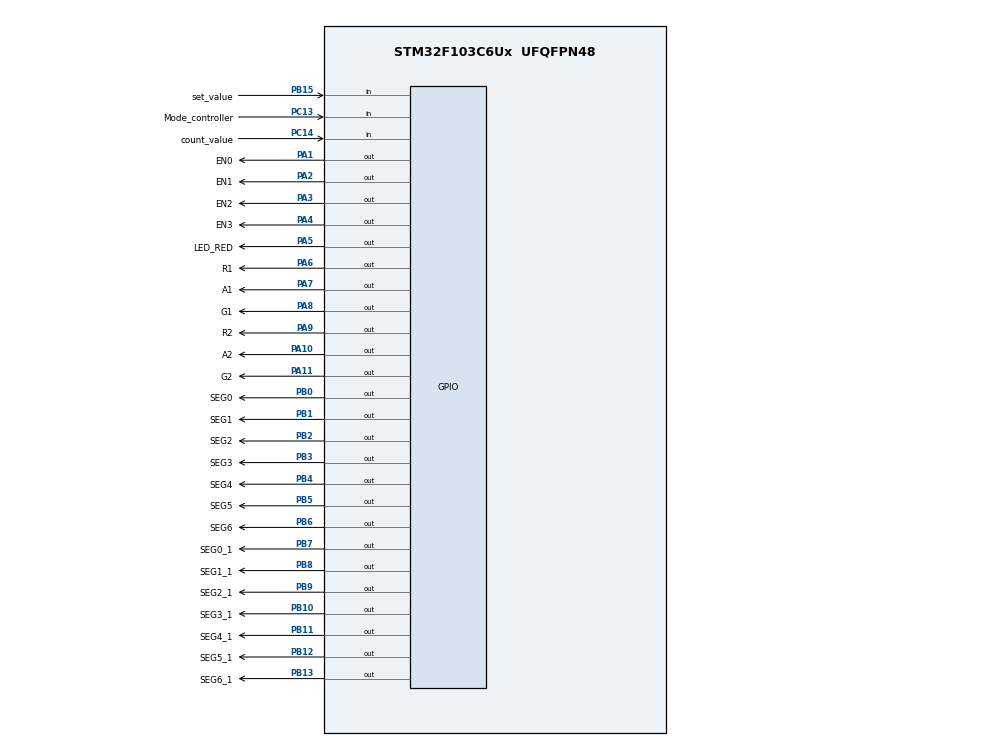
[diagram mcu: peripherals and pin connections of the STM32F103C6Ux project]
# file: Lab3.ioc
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Mcu.Family=STM32F1
Mcu.Name=STM32F103C6Ux
Mcu.Package=UFQFPN48
NVIC.PriorityGroup=NVIC_PRIORITYGROUP_4
NVIC.TIM2_IRQn=true\:0\:0\:false\:false\:true\:true\:true\:true
PA1.GPIO_Label=EN0
PA1.Signal=GPIO_Output
PA10.GPIO_Label=A2
PA10.Signal=GPIO_Output
PA11.GPIO_Label=G2
PA11.Signal=GPIO_Output
PA2.GPIO_Label=EN1
PA2.Signal=GPIO_Output
PA3.GPIO_Label=EN2
PA3.Signal=GPIO_Output
PA4.GPIO_Label=EN3
PA4.Signal=GPIO_Output
PA5.GPIO_Label=LED_RED
PA5.Signal=GPIO_Output
PA6.GPIO_Label=R1
PA6.Signal=GPIO_Output
PA7.GPIO_Label=A1
PA7.Signal=GPIO_Output
PA8.GPIO_Label=G1
PA8.Signal=GPIO_Output
PA9.GPIO_Label=R2
PA9.Signal=GPIO_Output
PB0.GPIO_Label=SEG0
PB0.Signal=GPIO_Output
PB1.GPIO_Label=SEG1
PB1.Signal=GPIO_Output
PB10.GPIO_Label=SEG3_1
PB10.Signal=GPIO_Output
PB11.GPIO_Label=SEG4_1
PB11.Signal=GPIO_Output
PB12.GPIO_Label=SEG5_1
PB12.Signal=GPIO_Output
PB13.GPIO_Label=SEG6_1
PB13.Signal=GPIO_Output
PB15.GPIO_Label=set_value
PB15.GPIO_PuPd=GPIO_PULLUP
PB15.Signal=GPIO_Input
PB2.GPIO_Label=SEG2
PB2.Signal=GPIO_Output
PB3.GPIO_Label=SEG3
PB3.Signal=GPIO_Output
PB4.GPIO_Label=SEG4
PB4.Signal=GPIO_Output
PB5.GPIO_Label=SEG5
PB5.Signal=GPIO_Output
PB6.GPIO_Label=SEG6
PB6.Signal=GPIO_Output
PB7.GPIO_Label=SEG0_1
PB7.Signal=GPIO_Output
PB8.GPIO_Label=SEG1_1
PB8.Signal=GPIO_Output
PB9.GPIO_Label=SEG2_1
PB9.Signal=GPIO_Output
PC13-TAMPER-RTC.GPIO_Label=Mode_controller
PC13-TAMPER-RTC.GPIO_PuPd=GPIO_PULLUP
PC13-TAMPER-RTC.Signal=GPIO_Input
PC14-OSC32_IN.GPIO_Label=count_value
PC14-OSC32_IN.GPIO_PuPd=GPIO_PULLUP
PC14-OSC32_IN.Signal=GPIO_Input
ProjectManager.HeapSize=0x200
ProjectManager.StackSize=0x400
ProjectManager.TargetToolchain=STM32CubeIDE
RCC.APB1Freq_Value=8000000
RCC.APB2Freq_Value=8000000
TIM2.Period=9
TIM2.Prescaler=7999
VP_TIM2_VS_ClockSourceINT.Mode=Internal
board=custom

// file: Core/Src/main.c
/* USER CODE BEGIN Header */
/**
  ******************************************************************************
  * @file           : main.c
  * @brief          : Main program body
  ******************************************************************************
  * @attention
  *
  * Copyright (c) 2023 STMicroelectronics.
  * All rights reserved.
  *
  * This software is licensed under terms that can be found in the LICENSE file
  * in the root directory of this software component.
  * If no LICENSE file comes with this software, it is provided AS-IS.
  *
  ******************************************************************************
  */
/* USER CODE END Header */
#include "main.h"

/* USER CODE BEGIN Includes */
#include "software_timer.h"
#include "button.h"
#include "display7SEG.h"
#include "update_value.h"
#include "mode_selection.h"
/* USER CODE END Includes */

TIM_HandleTypeDef htim2;

void SystemClock_Config(void);
static void MX_GPIO_Init(void);
static void MX_TIM2_Init(void);

int main(void)
{

  /* MCU Configuration--------------------------------------------------------*/

  /* Reset of all peripherals, Initializes the Flash interface and the Systick. */
  HAL_Init();

  /* Configure the system clock */
  SystemClock_Config();

  /* Initialize all configured peripherals */
  MX_GPIO_Init();
  MX_TIM2_Init();
  /* USER CODE BEGIN 2 */
  HAL_TIM_Base_Start_IT(&htim2);
  /* USER CODE END 2 */

  /* Infinite loop */
  /* USER CODE BEGIN WHILE */
  HAL_GPIO_WritePin(EN0_GPIO_Port, EN0_Pin, RESET) ;
  HAL_GPIO_WritePin(EN1_GPIO_Port, EN1_Pin, RESET) ;
  HAL_GPIO_WritePin(EN2_GPIO_Port, EN2_Pin, RESET) ;
  HAL_GPIO_WritePin(EN3_GPIO_Port, EN3_Pin, RESET) ;
  setTimer0(1000) ;
  while (1)
  {
	  if(timer0_flag >= 1) {
		  setTimer0(1000) ;
		  HAL_GPIO_TogglePin(LED_RED_GPIO_Port, LED_RED_Pin) ;
	  }
	  selection();
    /* USER CODE END WHILE */

  }
}

void SystemClock_Config(void)
{
  RCC_OscInitTypeDef RCC_OscInitStruct = {0};
  RCC_ClkInitTypeDef RCC_ClkInitStruct = {0};

  /** Initializes the RCC Oscillators according to the specified parameters
  * in the RCC_OscInitTypeDef structure.
  */
  RCC_OscInitStruct.OscillatorType = RCC_OSCILLATORTYPE_HSI;
  RCC_OscInitStruct.HSIState = RCC_HSI_ON;
  RCC_OscInitStruct.HSICalibrationValue = RCC_HSICALIBRATION_DEFAULT;
  RCC_OscInitStruct.PLL.PLLState = RCC_PLL_NONE;
  if (HAL_RCC_OscConfig(&RCC_OscInitStruct) != HAL_OK)
  {
    Error_Handler();
  }

  /** Initializes the CPU, AHB and APB buses clocks
  */
  RCC_ClkInitStruct.ClockType = RCC_CLOCKTYPE_HCLK|RCC_CLOCKTYPE_SYSCLK
                              |RCC_CLOCKTYPE_PCLK1|RCC_CLOCKTYPE_PCLK2;
  RCC_ClkInitStruct.SYSCLKSource = RCC_SYSCLKSOURCE_HSI;
  RCC_ClkInitStruct.AHBCLKDivider = RCC_SYSCLK_DIV1;
  RCC_ClkInitStruct.APB1CLKDivider = RCC_HCLK_DIV1;
  RCC_ClkInitStruct.APB2CLKDivider = RCC_HCLK_DIV1;

  if (HAL_RCC_ClockConfig(&RCC_ClkInitStruct, FLASH_LATENCY_0) != HAL_OK)
  {
    Error_Handler();
  }
}

static void MX_TIM2_Init(void)
{

  TIM_ClockConfigTypeDef sClockSourceConfig = {0};
  TIM_MasterConfigTypeDef sMasterConfig = {0};

  htim2.Instance = TIM2;
  htim2.Init.Prescaler = 7999;
  htim2.Init.CounterMode = TIM_COUNTERMODE_UP;
  htim2.Init.Period = 9;
  htim2.Init.ClockDivision = TIM_CLOCKDIVISION_DIV1;
  htim2.Init.AutoReloadPreload = TIM_AUTORELOAD_PRELOAD_DISABLE;
  if (HAL_TIM_Base_Init(&htim2) != HAL_OK)
  {
    Error_Handler();
  }
  sClockSourceConfig.ClockSource = TIM_CLOCKSOURCE_INTERNAL;
  if (HAL_TIM_ConfigClockSource(&htim2, &sClockSourceConfig) != HAL_OK)
  {
    Error_Handler();
  }
  sMasterConfig.MasterOutputTrigger = TIM_TRGO_RESET;
  sMasterConfig.MasterSlaveMode = TIM_MASTERSLAVEMODE_DISABLE;
  if (HAL_TIMEx_MasterConfigSynchronization(&htim2, &sMasterConfig) != HAL_OK)
  {
    Error_Handler();
  }

}

static void MX_GPIO_Init(void)
{
  GPIO_InitTypeDef GPIO_InitStruct = {0};

  /* GPIO Ports Clock Enable */
  __HAL_RCC_GPIOC_CLK_ENABLE();
  __HAL_RCC_GPIOA_CLK_ENABLE();
  __HAL_RCC_GPIOB_CLK_ENABLE();

  /*Configure GPIO pin Output Level */
  HAL_GPIO_WritePin(GPIOA, EN0_Pin|EN1_Pin|EN2_Pin|EN3_Pin
                          |LED_RED_Pin|R1_Pin|A1_Pin|G1_Pin
                          |R2_Pin|A2_Pin|G2_Pin, GPIO_PIN_RESET);

  /*Configure GPIO pin Output Level */
  HAL_GPIO_WritePin(GPIOB, SEG0_Pin|SEG1_Pin|SEG2_Pin|SEG3_1_Pin
                          |SEG4_1_Pin|SEG5_1_Pin|SEG6_1_Pin|SEG3_Pin
                          |SEG4_Pin|SEG5_Pin|SEG6_Pin|SEG0_1_Pin
                          |SEG1_1_Pin|SEG2_1_Pin, GPIO_PIN_RESET);

  /*Configure GPIO pins : Mode_controller_Pin count_value_Pin */
  GPIO_InitStruct.Pin = Mode_controller_Pin|count_value_Pin;
  GPIO_InitStruct.Mode = GPIO_MODE_INPUT;
  GPIO_InitStruct.Pull = GPIO_PULLUP;
  HAL_GPIO_Init(GPIOC, &GPIO_InitStruct);

  /*Configure GPIO pins : EN0_Pin EN1_Pin EN2_Pin EN3_Pin
                           LED_RED_Pin R1_Pin A1_Pin G1_Pin
                           R2_Pin A2_Pin G2_Pin */
  GPIO_InitStruct.Pin = EN0_Pin|EN1_Pin|EN2_Pin|EN3_Pin
                          |LED_RED_Pin|R1_Pin|A1_Pin|G1_Pin
                          |R2_Pin|A2_Pin|G2_Pin;
  GPIO_InitStruct.Mode = GPIO_MODE_OUTPUT_PP;
  GPIO_InitStruct.Pull = GPIO_NOPULL;
  GPIO_InitStruct.Speed = GPIO_SPEED_FREQ_LOW;
  HAL_GPIO_Init(GPIOA, &GPIO_InitStruct);

  /*Configure GPIO pins : SEG0_Pin SEG1_Pin SEG2_Pin SEG3_1_Pin
                           SEG4_1_Pin SEG5_1_Pin SEG6_1_Pin SEG3_Pin
                           SEG4_Pin SEG5_Pin SEG6_Pin SEG0_1_Pin
                           SEG1_1_Pin SEG2_1_Pin */
  GPIO_InitStruct.Pin = SEG0_Pin|SEG1_Pin|SEG2_Pin|SEG3_1_Pin
                          |SEG4_1_Pin|SEG5_1_Pin|SEG6_1_Pin|SEG3_Pin
                          |SEG4_Pin|SEG5_Pin|SEG6_Pin|SEG0_1_Pin
                          |SEG1_1_Pin|SEG2_1_Pin;
  GPIO_InitStruct.Mode = GPIO_MODE_OUTPUT_PP;
  GPIO_InitStruct.Pull = GPIO_NOPULL;
  GPIO_InitStruct.Speed = GPIO_SPEED_FREQ_LOW;
  HAL_GPIO_Init(GPIOB, &GPIO_InitStruct);

  /*Configure GPIO pin : set_value_Pin */
  GPIO_InitStruct.Pin = set_value_Pin;
  GPIO_InitStruct.Mode = GPIO_MODE_INPUT;
  GPIO_InitStruct.Pull = GPIO_PULLUP;
  HAL_GPIO_Init(set_value_GPIO_Port, &GPIO_InitStruct);

}

/* USER CODE BEGIN 4 */
void HAL_TIM_PeriodElapsedCallback(TIM_HandleTypeDef * htim){
	timerRun();
	getKeyInput();
}
/* USER CODE END 4 */

void Error_Handler(void)
{
  __disable_irq();
  while (1)
  {
  }
}
